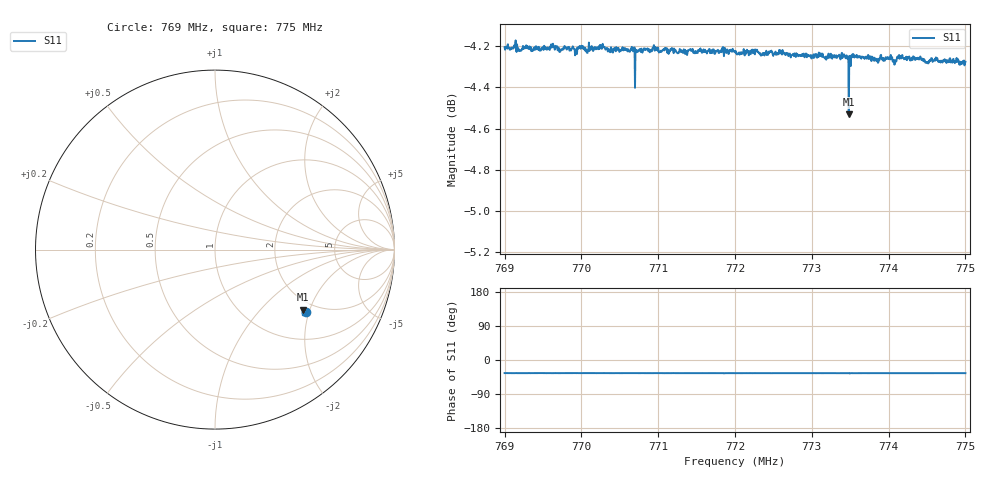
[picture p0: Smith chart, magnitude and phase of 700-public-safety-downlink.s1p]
! Calibrated averaged scanner-service zoom
# Hz S RI R 50
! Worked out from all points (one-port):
!   1001 points, 769 MHz to 775 MHz, reference 50 ohm
!   lowest |S11| = -4.5 dB at 773.482 MHz (marker M1), VSWR 3.92, Z = 86.9 - j89.9 ohm
!   |S11| at or under -10 dB: nowhere
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7.69e8  0.5074 -0.3497
7.69468e8  0.5073 -0.3478
7.69612e8  0.5065 -0.3508
7.6975e8  0.5067 -0.3492
7.6981e8  0.5066 -0.3495
7.705e8  0.5055 -0.35
7.70662e8  0.507 -0.3499
7.70668e8  0.5065 -0.3496
7.70722e8  0.5064 -0.3494
7.70734e8  0.506 -0.3492
7.70956e8  0.5064 -0.3492
7.7125e8  0.5049 -0.3498
7.72e8  0.5052 -0.3507
7.7236e8  0.5053 -0.3492
7.72456e8  0.5047 -0.3507
7.7275e8  0.5045 -0.3495
7.7341e8  0.504 -0.3503
7.73446e8  0.5031 -0.3493
7.73452e8  0.5043 -0.3494
7.73482e8  0.4898 -0.3352
7.735e8  0.5033 -0.3496
7.73518e8  0.5033 -0.3494
7.73542e8  0.504 -0.3505
7.73836e8  0.5038 -0.3476
7.7425e8  0.5031 -0.3499
7.74484e8  0.5025 -0.348
7.74574e8  0.5021 -0.3486
7.75e8  0.5024 -0.3482
